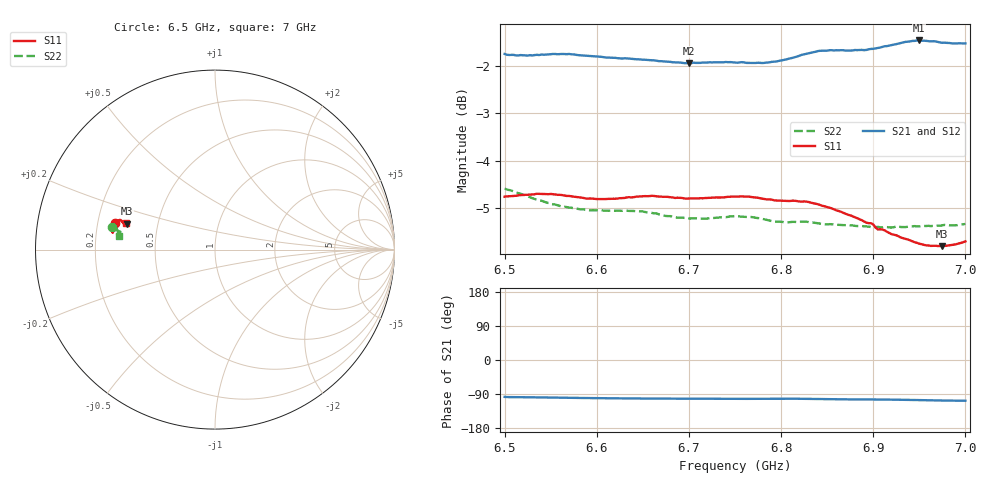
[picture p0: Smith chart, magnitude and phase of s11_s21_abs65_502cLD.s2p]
! MS46122B
! 1919307/90821646
! 7/29/2022 2:34:47 PM
! C:\USERS\PC_\DESKTOP\MEDICIONES\BANCHA ESTRECHA\65_7GHZ\S11_S21_ABS65_502CL.S2P
! CHANNEL.1
! TR.MEASUREMENT
! CORRECTED.DATA
# GHZ S RI R 50.0
! FREQ.GHZ  S11RE  S11IM  S21RE  S21IM  S12RE  S12IM  S22RE  S22IM
!; PortSelection: Port_12
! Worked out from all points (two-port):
!   201 points, 6.5 GHz to 7 GHz, reference 50 ohm
!   highest |S21| = -1.46 dB at 6.95 GHz (marker M1); lowest = -1.9 dB at 6.7 GHz (marker M2)
!   |S21| within 3 dB of the highest: start of sweep to end of sweep
!   lowest |S11| = -5.8 dB at 6.975 GHz (marker M3), VSWR 3.11, Z = 16.4 + j6.4 ohm
!   |S11| at or under -10 dB: nowhere
!   |S22| runs from -5.4 to -4.6 dB; largest |S21 - S12| = 0.013
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6.5  -0.5589 0.1482  -0.1043 -0.811  -0.1014 -0.8078  -0.5756 0.1276
6.5025  -0.561 0.142  -0.111 -0.8084  -0.1025 -0.8073  -0.5748 0.1263
6.5075  -0.5623 0.1383  -0.1125 -0.808  -0.103 -0.8071  -0.5736 0.1239
6.545  -0.5685 0.1243  -0.1263 -0.8065  -0.1136 -0.808  -0.5599 0.1084
6.585  -0.5656 0.1124  -0.1455 -0.8017  -0.1358 -0.8069  -0.5494 0.1123
6.6225  -0.567 0.0994  -0.157 -0.7938  -0.1508 -0.7982  -0.5475 0.1135
6.6675  -0.5704 0.0961  -0.1653 -0.7863  -0.1609 -0.7907  -0.5467 0.0889
6.6825  -0.5683 0.1006  -0.1662 -0.7838  -0.1631 -0.7881  -0.5444 0.0834
6.7  -0.5651 0.1105  -0.1668 -0.7819  -0.1644 -0.7865  -0.5419 0.0838
6.725  -0.5626 0.1275  -0.1692 -0.7827  -0.1677 -0.7863  -0.5405 0.0954
6.75  -0.5622 0.1362  -0.1725 -0.7822  -0.1716 -0.7843  -0.5413 0.1068
6.7725  -0.561 0.1356  -0.1734 -0.7809  -0.1723 -0.7817  -0.54 0.1011
6.8  -0.5581 0.1288  -0.1706 -0.7864  -0.1696 -0.786  -0.538 0.0803
6.815  -0.5567 0.1341  -0.1723 -0.7927  -0.1713 -0.7919  -0.5389 0.0739
6.835  -0.5493 0.1489  -0.1798 -0.8012  -0.1796 -0.8001  -0.5372 0.0795
6.8525  -0.5394 0.1618  -0.1903 -0.8029  -0.1899 -0.8013  -0.5335 0.0892
6.875  -0.5273 0.1655  -0.1987 -0.7999  -0.1983 -0.7968  -0.5302 0.0994
6.8975  -0.5191 0.1563  -0.2032 -0.8023  -0.2021 -0.7965  -0.5278 0.1003
6.9175  -0.5092 0.145  -0.21 -0.8076  -0.2072 -0.8013  -0.5287 0.0915
6.95  -0.4969 0.1387  -0.2311 -0.8126  -0.2238 -0.8061  -0.5325 0.077
6.975  -0.4923 0.1437  -0.2449 -0.8036  -0.2377 -0.8011  -0.5343 0.0748
7  -0.4978 0.1461  -0.2523 -0.8  -0.2459 -0.7949  -0.5359 0.0754
